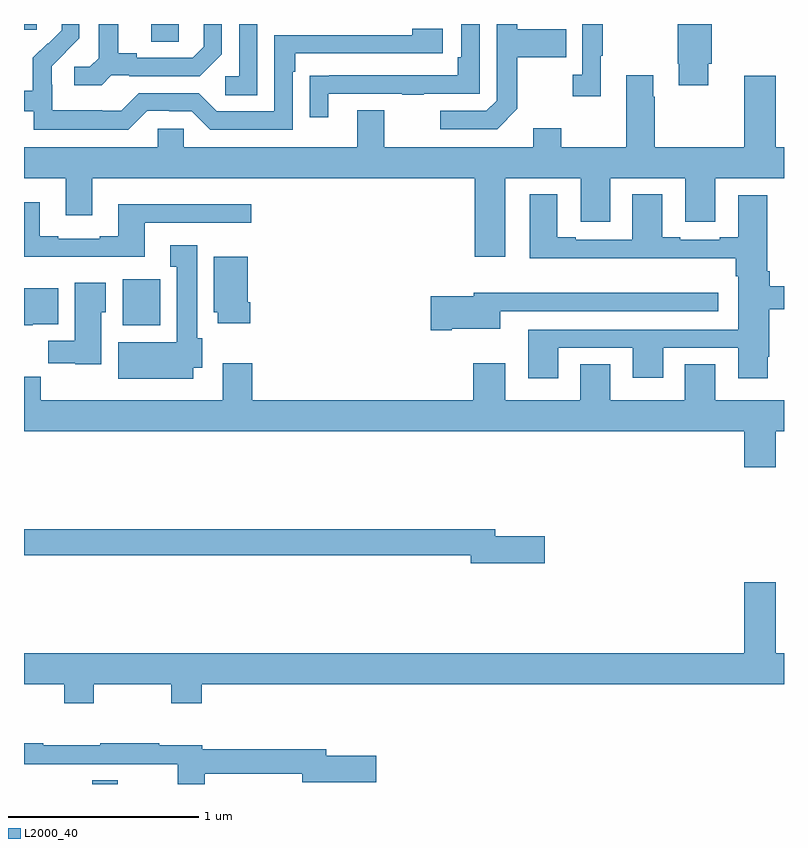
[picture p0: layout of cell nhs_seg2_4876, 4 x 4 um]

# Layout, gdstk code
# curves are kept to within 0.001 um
import gdstk
lib = gdstk.Library(unit=1e-6, precision=1e-09)
def R(c, l, rs):  # rectangles x0, y0, x1, y1
    for r in rs: c.add(gdstk.rectangle(r[:2], r[2:], *l))
def P(c, l, *ps):  # polygons
    for p in ps: c.add(gdstk.Polygon(p, *l))
L2000_40 = (2000, 40)

nhs_seg2_4876 = lib.new_cell('nhs_seg2_4876')
R(nhs_seg2_4876, L2000_40, [(377.36,625.8,377.494,625.82), (377.519,628.214,377.716,628.456), (377.669,629.707,377.814,629.8), (377,629.769,377.068,629.8)])
P(nhs_seg2_4876, L2000_40, [(377.46,629.529),(377.554,629.529),(377.554,629.526),(377.926,629.526),(378.042,629.642),(378.042,629.8),(377.945,629.8),(377.945,629.679),(377.888,629.622),(377.593,629.622),(377.593,629.645),(377.497,629.645),(377.497,629.8),(377.393,629.8),(377.393,629.621),(377.346,629.574),(377.265,629.574),(377.265,629.477),(377.408,629.477)],
  [(380.602,629.59),(380.62,629.59),(380.62,629.8),(380.44,629.8),(380.44,629.59),(380.447,629.59),(380.447,629.478),(380.602,629.478)],
  [(378.601,629.433),(378.991,629.433),(378.991,629.428),(379.103,629.428),(379.103,629.433),(379.398,629.433),(379.398,629.8),(379.302,629.8),(379.302,629.626),(379.282,629.626),(379.282,629.529),(378.607,629.529),(378.607,629.528),(378.505,629.528),(378.505,629.31),(378.601,629.31)],
  [(380.035,629.633),(380.047,629.633),(380.047,629.8),(379.938,629.8),(379.938,629.534),(379.887,629.534),(379.887,629.421),(380.035,629.421)],
  [(378.228,629.8),(378.132,629.8),(378.132,629.526),(378.06,629.526),(378.06,629.425),(378.228,629.425)],
  [(379.597,629.353),(379.597,629.626),(379.853,629.626),(379.853,629.773),(379.597,629.773),(379.597,629.8),(379.488,629.8),(379.488,629.397),(379.434,629.343),(379.191,629.343),(379.191,629.247),(379.491,629.247)],
  [(377.649,629.343),(377.765,629.343),(377.765,629.34),(377.883,629.34),(377.979,629.244),(378.414,629.244),(378.414,629.549),(378.427,629.549),(378.427,629.646),(379.204,629.646),(379.204,629.776),(379.043,629.776),(379.043,629.742),(378.318,629.742),(378.318,629.34),(378.015,629.34),(377.919,629.436),(377.604,629.436),(377.511,629.343),(377.411,629.343),(377.411,629.347),(377.148,629.347),(377.148,629.481),(377.146,629.481),(377.146,629.578),(377.292,629.726),(377.292,629.8),(377.198,629.8),(377.198,629.768),(377.127,629.697),(377.124,629.7),(377.047,629.623),(377.047,629.449),(377,629.449),(377,629.34),(377.052,629.34),(377.052,629.243),(377.549,629.243)],
  [(378.895,629.347),(378.755,629.347),(378.755,629.152),(377.841,629.152),(377.841,629.25),(377.703,629.25),(377.703,629.152),(377,629.152),(377,628.988),(377.219,628.988),(377.219,628.794),(377.359,628.794),(377.359,628.988),(379.373,628.988),(379.373,628.575),(379.534,628.575),(379.534,628.988),(379.931,628.988),(379.931,628.758),(380.086,628.758),(380.086,628.988),(380.48,628.988),(380.48,628.758),(380.638,628.758),(380.638,628.988),(381,628.988),(381,629.152),(380.956,629.152),(380.956,629.527),(380.792,629.527),(380.792,629.152),(380.319,629.152),(380.319,629.417),(380.311,629.417),(380.311,629.53),(380.171,629.53),(380.171,629.152),(379.827,629.152),(379.827,629.251),(379.679,629.251),(379.679,629.152),(378.895,629.152)],
  [(379.813,628.095),(380.204,628.095),(380.204,627.939),(380.365,627.939),(380.365,628.095),(380.759,628.095),(380.759,627.936),(380.914,627.936),(380.914,628.048),(380.922,628.048),(380.922,628.3),(381,628.3),(381,628.421),(380.924,628.421),(380.924,628.498),(380.911,628.498),(380.911,628.9),(380.759,628.9),(380.759,628.678),(380.663,628.678),(380.663,628.665),(380.455,628.665),(380.455,628.678),(380.359,628.678),(380.359,628.903),(380.201,628.903),(380.201,628.665),(379.903,628.665),(379.903,628.678),(379.807,628.678),(379.807,628.903),(379.661,628.903),(379.661,628.568),(380.747,628.568),(380.747,628.472),(380.759,628.472),(380.759,628.191),(379.655,628.191),(379.655,627.936),(379.813,627.936)],
  [(377.635,628.755),(378.196,628.755),(378.196,628.852),(377.495,628.852),(377.495,628.684),(377.399,628.684),(377.399,628.671),(377.179,628.671),(377.179,628.684),(377.083,628.684),(377.083,628.861),(377,628.861),(377,628.574),(377.635,628.574)],
  [(377.89,627.992),(377.938,627.992),(377.938,628.146),(377.911,628.146),(377.911,628.636),(377.771,628.636),(377.771,628.523),(377.804,628.523),(377.804,628.126),(377.495,628.126),(377.495,627.932),(377.89,627.932)],
  [(378.191,628.336),(378.178,628.336),(378.178,628.576),(377.999,628.576),(377.999,628.284),(378.02,628.284),(378.02,628.224),(378.191,628.224)],
  [(377.407,628.284),(377.431,628.284),(377.431,628.438),(377.267,628.438),(377.267,628.132),(377.128,628.132),(377.128,628.014),(377.271,628.014),(377.271,628.01),(377.407,628.01)],
  [(377.046,628.22),(377.179,628.22),(377.179,628.408),(377,628.408),(377,628.214),(377.046,628.214)],
  [(379.252,628.196),(379.507,628.196),(379.507,628.287),(380.653,628.287),(380.653,628.385),(379.367,628.385),(379.367,628.367),(379.14,628.367),(379.14,628.189),(379.252,628.189)],
  [(380.956,627.656),(381,627.656),(381,627.82),(380.638,627.82),(380.638,628.01),(380.477,628.01),(380.477,627.82),(380.086,627.82),(380.086,628.01),(379.928,628.01),(379.928,627.82),(379.534,627.82),(379.534,628.015),(379.364,628.015),(379.364,627.82),(378.2,627.82),(378.2,628.015),(378.047,628.015),(378.047,627.82),(377.087,627.82),(377.087,627.944),(377,627.944),(377,627.656),(380.792,627.656),(380.792,627.468),(380.956,627.468)],
  [(379.741,627.104),(379.48,627.104),(379.48,627.14),(377,627.14),(377,627.004),(379.352,627.004),(379.352,626.962),(379.741,626.962)],
  [(377.367,626.324),(377.776,626.324),(377.776,626.225),(377.936,626.225),(377.936,626.324),(381,626.324),(381,626.488),(380.956,626.488),(380.956,626.863),(380.792,626.863),(380.792,626.488),(377,626.488),(377,626.324),(377.212,626.324),(377.212,626.225),(377.367,626.225)],
  [(377.951,625.855),(378.464,625.855),(378.464,625.808),(378.853,625.808),(378.853,625.95),(378.592,625.95),(378.592,625.984),(377.938,625.984),(377.938,626.004),(377.711,626.004),(377.711,626.014),(377.401,626.014),(377.401,626.004),(377.101,626.004),(377.101,626.014),(377,626.014),(377,625.904),(377.264,625.904),(377.264,625.905),(377.598,625.905),(377.598,625.904),(377.808,625.904),(377.808,625.8),(377.951,625.8)])

lib.write_gds('nhs_seg2_4876.gds')
